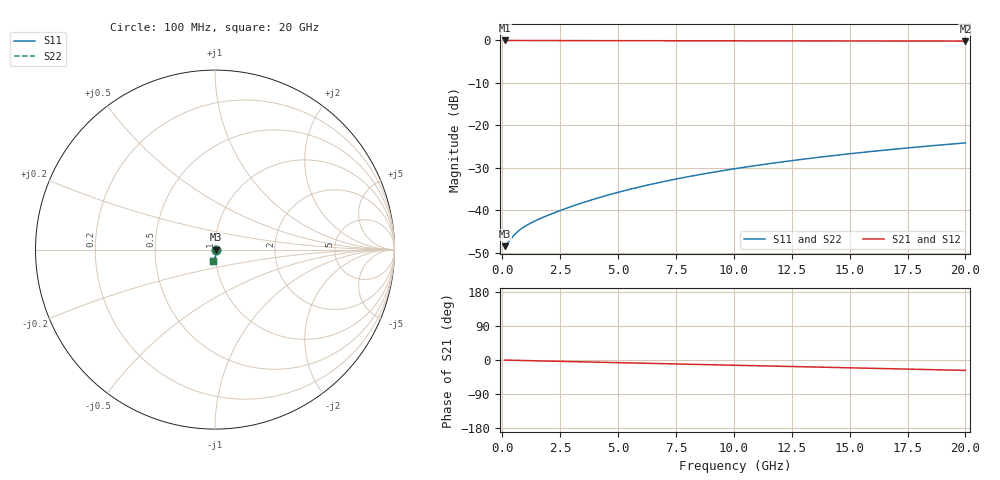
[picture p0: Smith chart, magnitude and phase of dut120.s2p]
! Touchstone file exported from HFSS 2026.1.0
!  File:  C:/ffzhzh/LocalFiles/Ansys_Project_Files/temp_train_TMRDL_120_1782982623_45328.aedt
!  Generated:  04:58:07 PM Jul  2, 2026
!  Design:  TMRDL
!  Project:  temp_train_TMRDL_120_1782982623_45328
! Variables:
!  h_bsmrdl = 2um
!  h_ox = 20um
!  h_rdl = 5um
!  h_sub = 80um
!  h_tmrdl = 2.03um
!  h_tsv = 80um
!  h_via = 3um
!  l_bsmrdl = 300um
!  l_sub = 873.42um
!  l_tmrdl = 473.42um
!  m_sub = 200um
!  pitch = 26.79um
!  r_tsv = 6um
!  s_tmrdl = 10um
!  w_bsmrdl = 18um
!  w_sub = 500um
!  w_tmrdl = 24.73um
!  x_tsv_center1 = 485.785um
!  x_tsv_center2 = 803.785um
!  x_tsv_center3 = 1301.935um
!  x_tsv_center4 = 1619.935um
!  x_tsv_center5 = 2118.085um
!  x_tsv_center6 = 2436.085um
# GHz S MA R 50.000000
! Terminal data exported
! Port[1] = TM_RDL1_1_T1
! Port[2] = TM_RDL1_1_T2
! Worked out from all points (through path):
!   200 points, 100 MHz to 20 GHz, reference 50 ohm
!   highest |S21| = -0.03 dB at 100 MHz (marker M1); lowest = -0.2 dB at 20 GHz (marker M2)
!   group delay of S21, straight-line fit = 3.79 ps
!   lowest |S11| = -48.5 dB at 100 MHz (marker M3), VSWR 1.01, Z = 50.4 + j0.0319 ohm
!   |S11| at or under -10 dB: start of sweep to end of sweep
!   |S22| runs from -48.5 to -24.1 dB; largest |S21 - S12| = 1.3e-14
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0.1  0.003779 4.8  0.9962 -0.2  0.9962 -0.2  0.003779 4.8
! Gamma 0 0 0 0
! Port Impedance 50 0 50 0
0.2  0.00402 8.2  0.996 -0.3  0.996 -0.3  0.00402 8.2
0.4  0.004711 9.7  0.9954 -0.7  0.9954 -0.7  0.004711 9.7
0.5  0.005068 8.5  0.995 -0.8  0.995 -0.8  0.005069 8.5
0.6  0.005405 6.7  0.9946 -1.0  0.9946 -1.0  0.005406 6.7
0.8  0.006005 2.0  0.9939 -1.3  0.9939 -1.3  0.006006 2.0
1.1  0.006769 -5.4  0.9932 -1.7  0.9932 -1.7  0.00677 -5.4
1.5  0.007677 -14.6  0.9924 -2.2  0.9924 -2.2  0.007678 -14.6
2.1  0.009009 -26.4  0.9917 -3.0  0.9917 -3.0  0.00901 -26.4
2.8  0.01063 -37.4  0.9911 -4.0  0.9911 -4.0  0.01063 -37.4
3.5  0.01234 -45.9  0.9906 -5.0  0.9906 -5.0  0.01234 -45.9
4.3  0.0144 -53.4  0.9902 -6.1  0.9902 -6.1  0.0144 -53.4
5.1  0.01654 -59.4  0.9897 -7.1  0.9897 -7.1  0.01654 -59.3
5.9  0.01874 -64.2  0.9893 -8.2  0.9893 -8.2  0.01874 -64.1
6.8  0.02128 -68.6  0.9888 -9.5  0.9888 -9.5  0.02128 -68.5
8.4  0.02593 -74.8  0.9879 -11.7  0.9879 -11.7  0.02593 -74.7
10.1  0.03101 -80.0  0.9868 -14.0  0.9868 -14.0  0.03101 -79.9
11.7  0.0359 -84.1  0.9856 -16.2  0.9856 -16.2  0.03589 -83.9
13.4  0.04118 -87.9  0.9843 -18.5  0.9843 -18.5  0.04117 -87.7
15  0.04621 -91.1  0.983 -20.7  0.983 -20.7  0.0462 -90.9
16.7  0.05159 -94.3  0.9816 -23.0  0.9816 -23.0  0.05158 -94.1
20  0.06206 -100.2  0.9787 -27.4  0.9787 -27.4  0.06203 -99.9
